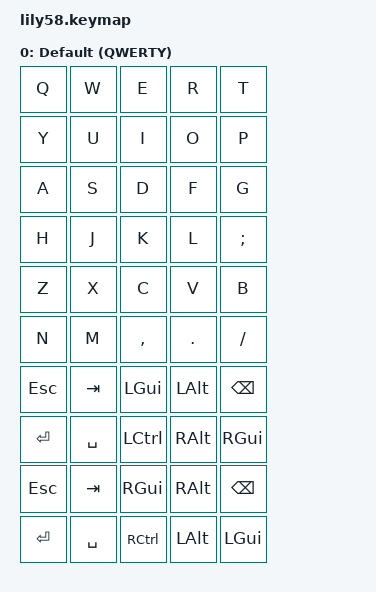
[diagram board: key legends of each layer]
#include <behaviors.dtsi>
#include <dt-bindings/zmk/keys.h>

/ {
    keymap {
        compatible = "zmk,keymap";

        default_layer {
            label = "Default (QWERTY)";

            bindings = <
                &kp Q    &kp W    &kp E    &kp R    &kp T
                &kp Y    &kp U    &kp I    &kp O    &kp P
                &kp A    &kp S    &kp D    &kp F    &kp G
                &kp H    &kp J    &kp K    &kp L    &kp SEMI
                &kp Z    &kp X    &kp C    &kp V    &kp B
                &kp N    &kp M    &kp COMMA &kp DOT  &kp SLASH

                // Thumb cluster (left half)
                &kp ESC  &kp TAB  &kp LGUI &kp LALT &kp BSPC
                &kp ENTER &kp SPACE &kp LCTRL &kp RALT &kp RGUI

                // Thumb cluster (right half – mirrored)
                &kp ESC  &kp TAB  &kp RGUI &kp RALT &kp BSPC
                &kp ENTER &kp SPACE &kp RCTRL &kp LALT &kp LGUI
            >;
        };
    };
};
